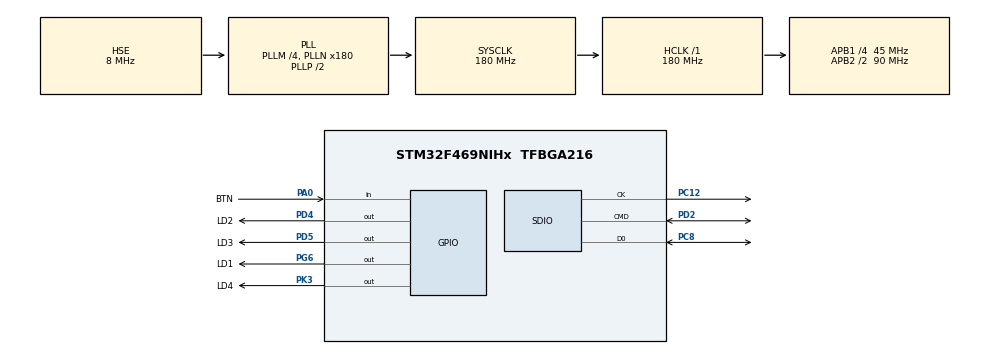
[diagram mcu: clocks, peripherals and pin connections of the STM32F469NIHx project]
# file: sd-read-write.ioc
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FATFS.BSP.number=1
FATFS._MAX_SS=4096
FATFS0.BSP.STBoard=false
FATFS0.BSP.api=Unknown
FATFS0.BSP.i2caddr=0
FATFS0.BSP.instance=PA0/WKUP
FATFS0.BSP.ip=GPIO
FATFS0.BSP.mode=Input
FATFS0.BSP.name=Detect_SDIO
FATFS0.BSP.solution=PA0/WKUP
Mcu.Family=STM32F4
Mcu.Name=STM32F469NIHx
Mcu.Package=TFBGA216
NVIC.PriorityGroup=NVIC_PRIORITYGROUP_4
PA0/WKUP.GPIO_Label=BTN
PA0/WKUP.Signal=GPIO_Input
PC12.Mode=SD_1_bit
PC12.Signal=SDIO_CK
PC8.Mode=SD_1_bit
PC8.Signal=SDIO_D0
PD2.Mode=SD_1_bit
PD2.Signal=SDIO_CMD
PD4.GPIO_Label=LD2
PD4.GPIO_PuPd=GPIO_PULLDOWN
PD4.Signal=GPIO_Output
PD5.GPIO_Label=LD3
PD5.GPIO_PuPd=GPIO_PULLDOWN
PD5.Signal=GPIO_Output
PG6.GPIO_Label=LD1
PG6.GPIO_PuPd=GPIO_PULLDOWN
PG6.Signal=GPIO_Output
PH0/OSC_IN.Mode=HSE-External-Oscillator
PH0/OSC_IN.Signal=RCC_OSC_IN
PH1/OSC_OUT.Mode=HSE-External-Oscillator
PH1/OSC_OUT.Signal=RCC_OSC_OUT
PK3.GPIO_Label=LD4
PK3.GPIO_PuPd=GPIO_PULLDOWN
PK3.Signal=GPIO_Output
ProjectManager.HeapSize=0x200
ProjectManager.StackSize=0x400
ProjectManager.TargetToolchain=Makefile
RCC.AHBFreq_Value=180000000
RCC.APB1CLKDivider=RCC_HCLK_DIV4
RCC.APB1Freq_Value=45000000
RCC.APB1TimFreq_Value=90000000
RCC.APB2CLKDivider=RCC_HCLK_DIV2
RCC.APB2Freq_Value=90000000
RCC.APB2TimFreq_Value=180000000
RCC.CortexFreq_Value=180000000
RCC.HCLKFreq_Value=180000000
RCC.HSE_VALUE=8000000
RCC.PLLM=4
RCC.PLLN=180
RCC.PLLQ=8
RCC.PLLSourceVirtual=RCC_PLLSOURCE_HSE
RCC.SYSCLKFreq_VALUE=180000000
RCC.SYSCLKSource=RCC_SYSCLKSOURCE_PLLCLK
RCC.USBFreq_Value=45000000
RCC.VCOOutputFreq_Value=360000000
VP_FATFS_VS_SDIO.Mode=SDIO
board=custom

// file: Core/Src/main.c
/* USER CODE BEGIN Header */
/**
  ******************************************************************************
  * @file           : main.c
  * @brief          : Main program body
  ******************************************************************************
  * @attention
  *
  * <h2><center>&copy; Copyright (c) 2022 STMicroelectronics.
  * All rights reserved.</center></h2>
  *
  * This software component is licensed by ST under Ultimate Liberty license
  * SLA0044, the "License"; You may not use this file except in compliance with
  * the License. You may obtain a copy of the License at:
  *                             www.st.com/SLA0044
  *
  ******************************************************************************
  */
/* USER CODE END Header */
#include "main.h"
#include "fatfs.h"

SD_HandleTypeDef hsd;

void SystemClock_Config(void);
static void MX_GPIO_Init(void);
static void MX_SDIO_SD_Init(void);

int main(void)
{

  /* MCU Configuration--------------------------------------------------------*/

  /* Reset of all peripherals, Initializes the Flash interface and the Systick. */
  HAL_Init();

  /* Configure the system clock */
  SystemClock_Config();

  /* Initialize all configured peripherals */
  MX_GPIO_Init();
  MX_SDIO_SD_Init();
  MX_FATFS_Init();
  /* USER CODE BEGIN 2 */

  FATFS myFATAFS;
  FIL myFILE;
  UINT testByte;
  uint8_t readBuffer[100];
  FRESULT result;
  uint32_t bytesread;

  // Write
  if (f_mount(&myFATAFS, (TCHAR const*)SDPath, 1) == FR_OK)
  {
    HAL_GPIO_TogglePin(LD1_GPIO_Port, LD1_Pin);
    char myPath[] = "WRITE1.TXT\0";
    f_open(&myFILE, myPath, FA_WRITE | FA_CREATE_ALWAYS);
    char myData[] = "Hello World\0";
    f_write(&myFILE, myData, sizeof(myData), &testByte);
    f_close(&myFILE);
    HAL_Delay(1000);
    HAL_GPIO_TogglePin(LD1_GPIO_Port, LD1_Pin);
  }
  else
  {
    Error_Handler();
  }

  // Read
  if (f_mount(&myFATAFS, (TCHAR const*)SDPath, 1) == FR_OK)
  {
    HAL_GPIO_TogglePin(LD1_GPIO_Port, LD1_Pin);
    f_open(&myFILE, "WRITE1.TXT",  FA_READ);
    memset(readBuffer, 0, sizeof(readBuffer));
    result = f_read(&myFILE, readBuffer, sizeof(readBuffer), (UINT*)&bytesread);
    if((bytesread == 0) || (result != FR_OK))
		{
      // Fail
      Error_Handler();
		}
		else
		{
      // Success
      HAL_GPIO_TogglePin(LD3_GPIO_Port, LD3_Pin);
		}
    f_close(&myFILE);
    HAL_Delay(1000);
    HAL_GPIO_TogglePin(LD1_GPIO_Port, LD1_Pin);
  }
  else
  {
    Error_Handler();
  }
  // this is some code changes.
  /* USER CODE END 2 */

  /* Infinite loop */
  /* USER CODE BEGIN WHILE */
  while (1)
  {
    HAL_Delay(1000);
    HAL_GPIO_TogglePin(LD2_GPIO_Port, LD2_Pin);
    /* USER CODE END WHILE */

  }
}

void SystemClock_Config(void)
{
  RCC_OscInitTypeDef RCC_OscInitStruct = {0};
  RCC_ClkInitTypeDef RCC_ClkInitStruct = {0};

  /** Configure the main internal regulator output voltage
  */
  __HAL_RCC_PWR_CLK_ENABLE();
  __HAL_PWR_VOLTAGESCALING_CONFIG(PWR_REGULATOR_VOLTAGE_SCALE1);
  /** Initializes the RCC Oscillators according to the specified parameters
  * in the RCC_OscInitTypeDef structure.
  */
  RCC_OscInitStruct.OscillatorType = RCC_OSCILLATORTYPE_HSE;
  RCC_OscInitStruct.HSEState = RCC_HSE_ON;
  RCC_OscInitStruct.PLL.PLLState = RCC_PLL_ON;
  RCC_OscInitStruct.PLL.PLLSource = RCC_PLLSOURCE_HSE;
  RCC_OscInitStruct.PLL.PLLM = 4;
  RCC_OscInitStruct.PLL.PLLN = 180;
  RCC_OscInitStruct.PLL.PLLP = RCC_PLLP_DIV2;
  RCC_OscInitStruct.PLL.PLLQ = 8;
  RCC_OscInitStruct.PLL.PLLR = 2;
  if (HAL_RCC_OscConfig(&RCC_OscInitStruct) != HAL_OK)
  {
    Error_Handler();
  }
  /** Activate the Over-Drive mode
  */
  if (HAL_PWREx_EnableOverDrive() != HAL_OK)
  {
    Error_Handler();
  }
  /** Initializes the CPU, AHB and APB buses clocks
  */
  RCC_ClkInitStruct.ClockType = RCC_CLOCKTYPE_HCLK|RCC_CLOCKTYPE_SYSCLK
                              |RCC_CLOCKTYPE_PCLK1|RCC_CLOCKTYPE_PCLK2;
  RCC_ClkInitStruct.SYSCLKSource = RCC_SYSCLKSOURCE_PLLCLK;
  RCC_ClkInitStruct.AHBCLKDivider = RCC_SYSCLK_DIV1;
  RCC_ClkInitStruct.APB1CLKDivider = RCC_HCLK_DIV4;
  RCC_ClkInitStruct.APB2CLKDivider = RCC_HCLK_DIV2;

  if (HAL_RCC_ClockConfig(&RCC_ClkInitStruct, FLASH_LATENCY_5) != HAL_OK)
  {
    Error_Handler();
  }
}

static void MX_SDIO_SD_Init(void)
{

  hsd.Instance = SDIO;
  hsd.Init.ClockEdge = SDIO_CLOCK_EDGE_RISING;
  hsd.Init.ClockBypass = SDIO_CLOCK_BYPASS_DISABLE;
  hsd.Init.ClockPowerSave = SDIO_CLOCK_POWER_SAVE_DISABLE;
  hsd.Init.BusWide = SDIO_BUS_WIDE_1B;
  hsd.Init.HardwareFlowControl = SDIO_HARDWARE_FLOW_CONTROL_DISABLE;
  hsd.Init.ClockDiv = 0;

}

static void MX_GPIO_Init(void)
{
  GPIO_InitTypeDef GPIO_InitStruct = {0};

  /* GPIO Ports Clock Enable */
  __HAL_RCC_GPIOC_CLK_ENABLE();
  __HAL_RCC_GPIOD_CLK_ENABLE();
  __HAL_RCC_GPIOK_CLK_ENABLE();
  __HAL_RCC_GPIOH_CLK_ENABLE();
  __HAL_RCC_GPIOG_CLK_ENABLE();
  __HAL_RCC_GPIOA_CLK_ENABLE();

  /*Configure GPIO pin Output Level */
  HAL_GPIO_WritePin(GPIOD, LD3_Pin|LD2_Pin, GPIO_PIN_RESET);

  /*Configure GPIO pin Output Level */
  HAL_GPIO_WritePin(LD4_GPIO_Port, LD4_Pin, GPIO_PIN_RESET);

  /*Configure GPIO pin Output Level */
  HAL_GPIO_WritePin(LD1_GPIO_Port, LD1_Pin, GPIO_PIN_RESET);

  /*Configure GPIO pins : LD3_Pin LD2_Pin */
  GPIO_InitStruct.Pin = LD3_Pin|LD2_Pin;
  GPIO_InitStruct.Mode = GPIO_MODE_OUTPUT_PP;
  GPIO_InitStruct.Pull = GPIO_PULLDOWN;
  GPIO_InitStruct.Speed = GPIO_SPEED_FREQ_LOW;
  HAL_GPIO_Init(GPIOD, &GPIO_InitStruct);

  /*Configure GPIO pin : LD4_Pin */
  GPIO_InitStruct.Pin = LD4_Pin;
  GPIO_InitStruct.Mode = GPIO_MODE_OUTPUT_PP;
  GPIO_InitStruct.Pull = GPIO_PULLDOWN;
  GPIO_InitStruct.Speed = GPIO_SPEED_FREQ_LOW;
  HAL_GPIO_Init(LD4_GPIO_Port, &GPIO_InitStruct);

  /*Configure GPIO pin : LD1_Pin */
  GPIO_InitStruct.Pin = LD1_Pin;
  GPIO_InitStruct.Mode = GPIO_MODE_OUTPUT_PP;
  GPIO_InitStruct.Pull = GPIO_PULLDOWN;
  GPIO_InitStruct.Speed = GPIO_SPEED_FREQ_LOW;
  HAL_GPIO_Init(LD1_GPIO_Port, &GPIO_InitStruct);

  /*Configure GPIO pin : BTN_Pin */
  GPIO_InitStruct.Pin = BTN_Pin;
  GPIO_InitStruct.Mode = GPIO_MODE_INPUT;
  GPIO_InitStruct.Pull = GPIO_NOPULL;
  HAL_GPIO_Init(BTN_GPIO_Port, &GPIO_InitStruct);

}

void Error_Handler(void)
{
  /* USER CODE BEGIN Error_Handler_Debug */
  HAL_GPIO_TogglePin(LD4_GPIO_Port, LD4_Pin);
  /* User can add his own implementation to report the HAL error return state */
  __disable_irq();
  while (1)
  {

  }
  /* USER CODE END Error_Handler_Debug */
}

/************************ (C) COPYRIGHT STMicroelectronics *****END OF FILE****/
